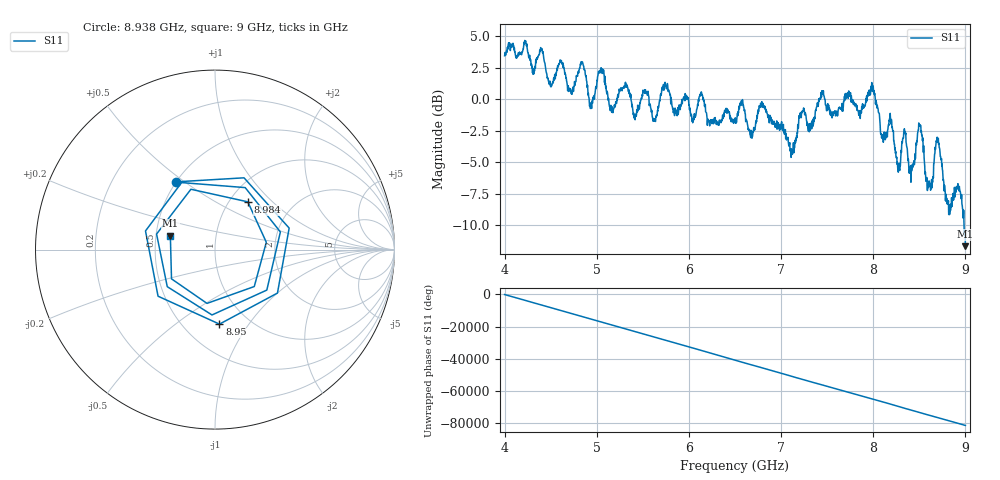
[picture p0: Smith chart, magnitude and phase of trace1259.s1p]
! Created with skrf 1.8.0 (http://scikit-rf.org).
# Hz S RI R 50.0
!freq ReS11 ImS11
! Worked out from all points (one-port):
!   1601 points, 4 GHz to 9 GHz, reference 50 ohm
!   lowest |S11| = -11.7 dB at 9 GHz (marker M1), VSWR 1.70, Z = 29.8 + j4.95 ohm
!   |S11| at or under -10 dB: 8.984748 GHz to end of sweep
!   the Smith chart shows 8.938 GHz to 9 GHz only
!   S11 on the Smith chart (normalised r, x): 8.938 GHz: 0.50, +0.46; 8.95 GHz: 0.74, -0.74; 8.984 GHz: 1.21, +0.72; 9 GHz: 0.60, +0.10
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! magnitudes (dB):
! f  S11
! 4 GHz  3.4
! 4.503 GHz  1.0
! 4.625 GHz  2.8
! 4.719 GHz  0.7
! 4.847 GHz  2.9
! 4.941 GHz  -0.4
! 5.041 GHz  2.2
! 5.159 GHz  -0.8
! 5.25 GHz  0.6
! 5.875 GHz  -0.8
! 6.5 GHz  -1.7
! 6.688 GHz  -3.0
! 6.803 GHz  -0.3
! 7.125 GHz  -4.2
! 7.228 GHz  -1.1
! 7.75 GHz  0.2
! 7.991 GHz  0.6
! 8.103 GHz  -3.2
! 8.375 GHz  -4.5
! 8.422 GHz  -5.6
! 8.506 GHz  -2.0
! 8.603 GHz  -6.8
! 8.697 GHz  -3.3
! 8.816 GHz  -8.1
! 8.938 GHz  -7.2
! 8.95 GHz  -7.6
! 8.984 GHz  -9.8
! 9 GHz  -11.7
